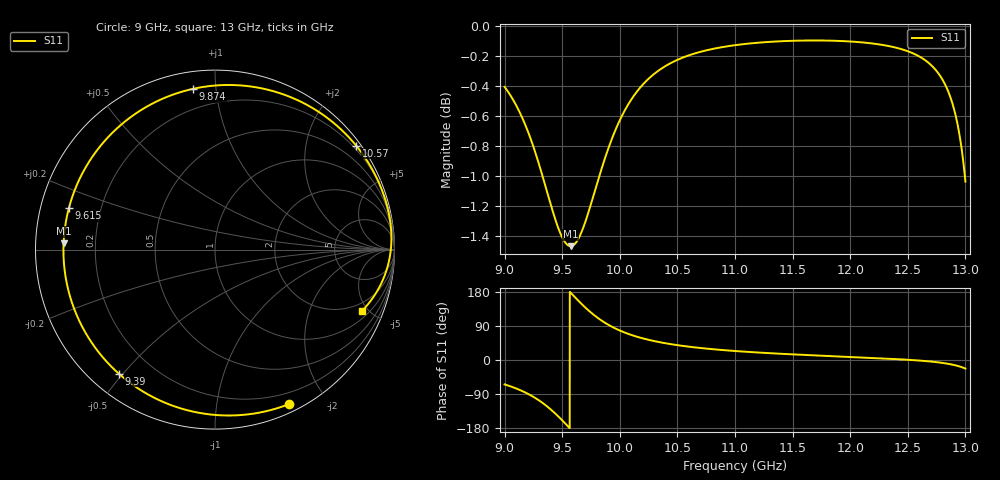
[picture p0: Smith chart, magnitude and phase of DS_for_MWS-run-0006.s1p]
! TOUCHSTONE file generated by CST DESIGN STUDIO
! Date and time: Tue Feb  4 18:40:45 2025
! Project name: C:\Work\MatlabApps\UnitCellOptimizationMatlab\CST\unitcell.cst
! Tree item: Tasks\Sweep1\SPara1\S-Parameters
! Header version: 2024
! Port assignment regex: !\s*Touchstone port\s*([0-9]+)\s*=\s*(CST MWS port|CST DES external port|CST DES block port)\s*(.+)\s* \(\"(.*)\"\)(\s*mode\s*([0-9]+))?.*
! Touchstone port assignment:
! Touchstone port 1 = CST DES external port 1 ("")
# GHz S MA R 50
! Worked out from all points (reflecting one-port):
!   4001 points, 9 GHz to 13 GHz, reference 50 ohm
!   lowest |S11| = -1.5 dB at 9.573 GHz (marker M1), VSWR 11.86, Z = 4.22 + j1.04 ohm
!   phase of S11 starts at -64 deg and turns -318 deg over the sweep
!   S11 on the Smith chart (normalised r, x): 9 GHz: 0.08, -1.58; 9.39 GHz: 0.08, -0.49; 9.615 GHz: 0.08, +0.14; 9.874 GHz: 0.09, +0.87; 10.57 GHz: 0.12, +3.04; 13 GHz: 1.42, -4.56
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9  0.9543 -64.5
9.115  0.9386 -76.9
9.234  0.9152 -94.5
9.316  0.8947 -110.3
9.39  0.8747 -127.8
9.443  0.8613 -142.2
9.5  0.8502 -159.2
9.537  0.8459 -170.9
9.573  0.8445 177.6
9.615  0.8464 164.2
9.682  0.8564 143.7
9.743  0.8705 126.9
9.806  0.8869 111.7
9.874  0.9041 97.7
9.932  0.9172 87.7
10  0.9302 77.8
10.103  0.9455 65.8
10.217  0.9576 55.7
10.347  0.967 46.9
10.5  0.9743 39.2
10.566  0.9767 36.4
11  0.9854 23.7
11.5  0.9887 14.9
12  0.9882 8.1
12.5  0.9808 0.6
12.8  0.9598 -7.7
12.912  0.9347 -13.9
13  0.8874 -22.7
